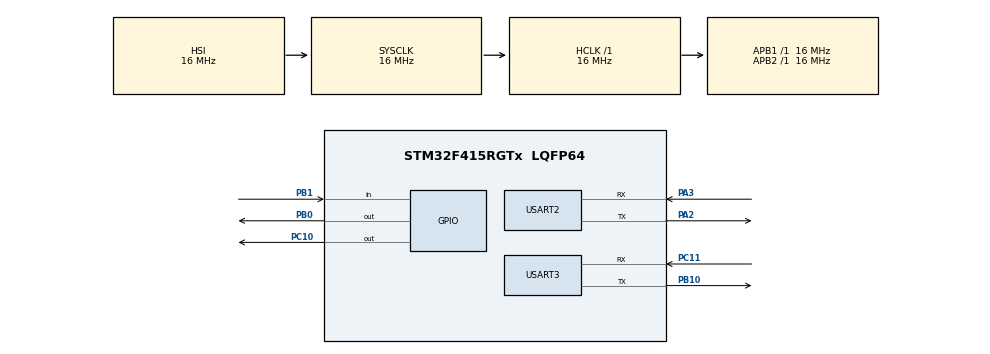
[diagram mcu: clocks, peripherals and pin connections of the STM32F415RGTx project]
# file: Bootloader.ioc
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Mcu.Family=STM32F4
Mcu.Name=STM32F415RGTx
Mcu.Package=LQFP64
NVIC.PriorityGroup=NVIC_PRIORITYGROUP_4
PA2.Mode=Asynchronous
PA2.Signal=USART2_TX
PA3.Mode=Asynchronous
PA3.Signal=USART2_RX
PB0.Signal=GPIO_Output
PB1.Signal=GPIO_Input
PB10.Mode=Asynchronous
PB10.Signal=USART3_TX
PC10.Signal=GPIO_Output
PC11.Mode=Asynchronous
PC11.Signal=USART3_RX
ProjectManager.HeapSize=0x200
ProjectManager.StackSize=0x400
ProjectManager.TargetToolchain=STM32CubeIDE
RCC.AHBFreq_Value=16000000
RCC.APB1Freq_Value=16000000
RCC.APB2Freq_Value=16000000
RCC.CortexFreq_Value=16000000
RCC.HSE_VALUE=25000000
RCC.HSI_VALUE=16000000
RCC.LSE_VALUE=32768
RCC.SYSCLKFreq_VALUE=16000000
RCC.VCOOutputFreq_Value=192000000
USART2.VirtualMode=VM_ASYNC
USART3.VirtualMode=VM_ASYNC
VP_CRC_VS_CRC.Mode=CRC_Activate
board=custom

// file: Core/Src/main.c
/* USER CODE BEGIN Header */
/**
  ******************************************************************************
  * @file           : main.c
  * @brief          : Main program body
  ******************************************************************************
  * @attention
  *
  * Copyright (c) 2022 STMicroelectronics.
  * All rights reserved.
  *
  * This software is licensed under terms that can be found in the LICENSE file
  * in the root directory of this software component.
  * If no LICENSE file comes with this software, it is provided AS-IS.
  *
  ******************************************************************************
  */
/* USER CODE END Header */
#include "main.h"

CRC_HandleTypeDef hcrc;

UART_HandleTypeDef huart2;
UART_HandleTypeDef huart3;

/* USER CODE BEGIN PV */
#define CMD_UART &huart3
#define DBG_UART &huart2

/* USER CODE END PV */

void SystemClock_Config(void);
static void MX_GPIO_Init(void);
static void MX_CRC_Init(void);
static void MX_USART2_UART_Init(void);
static void MX_USART3_UART_Init(void);

/* USER CODE BEGIN 0 */
char pData[] = "Hello from Bootloader\r\n";
uint8_t data_rcv[200];
/* USER CODE END 0 */

int main(void)
{

  /* MCU Configuration--------------------------------------------------------*/

  /* Reset of all peripherals, Initializes the Flash interface and the Systick. */
  HAL_Init();

  /* Configure the system clock */
  SystemClock_Config();

  /* Initialize all configured peripherals */
  MX_GPIO_Init();
  MX_CRC_Init();
  MX_USART2_UART_Init();
  MX_USART3_UART_Init();
  /* USER CODE BEGIN 2 */
  HAL_GPIO_WritePin(GPIOB, GPIO_PIN_0, GPIO_PIN_SET);
  HAL_UART_Transmit(&huart3, (uint8_t*)pData, sizeof(pData), HAL_MAX_DELAY);

  /* USER CODE END 2 */

  /* Infinite loop */
  while (1)
  {

    /* USER CODE BEGIN 3 */
	  /*Default state of Btn = HIGH */
	  if((HAL_GPIO_ReadPin(GPIOB, GPIO_PIN_1))!=GPIO_PIN_SET){
		  goto_bootloader_mode();
	  }
	  else{
		  HAL_GPIO_WritePin(GPIOB, GPIO_PIN_0, GPIO_PIN_RESET);
//		  goto_user_app();
		  goto_user_app();
	  }

  }
  /* USER CODE END 3 */
}

void SystemClock_Config(void)
{
  RCC_OscInitTypeDef RCC_OscInitStruct = {0};
  RCC_ClkInitTypeDef RCC_ClkInitStruct = {0};

  /** Configure the main internal regulator output voltage
  */
  __HAL_RCC_PWR_CLK_ENABLE();
  __HAL_PWR_VOLTAGESCALING_CONFIG(PWR_REGULATOR_VOLTAGE_SCALE1);

  /** Initializes the RCC Oscillators according to the specified parameters
  * in the RCC_OscInitTypeDef structure.
  */
  RCC_OscInitStruct.OscillatorType = RCC_OSCILLATORTYPE_HSI;
  RCC_OscInitStruct.HSIState = RCC_HSI_ON;
  RCC_OscInitStruct.HSICalibrationValue = RCC_HSICALIBRATION_DEFAULT;
  RCC_OscInitStruct.PLL.PLLState = RCC_PLL_NONE;
  if (HAL_RCC_OscConfig(&RCC_OscInitStruct) != HAL_OK)
  {
    Error_Handler();
  }

  /** Initializes the CPU, AHB and APB buses clocks
  */
  RCC_ClkInitStruct.ClockType = RCC_CLOCKTYPE_HCLK|RCC_CLOCKTYPE_SYSCLK
                              |RCC_CLOCKTYPE_PCLK1|RCC_CLOCKTYPE_PCLK2;
  RCC_ClkInitStruct.SYSCLKSource = RCC_SYSCLKSOURCE_HSI;
  RCC_ClkInitStruct.AHBCLKDivider = RCC_SYSCLK_DIV1;
  RCC_ClkInitStruct.APB1CLKDivider = RCC_HCLK_DIV1;
  RCC_ClkInitStruct.APB2CLKDivider = RCC_HCLK_DIV1;

  if (HAL_RCC_ClockConfig(&RCC_ClkInitStruct, FLASH_LATENCY_0) != HAL_OK)
  {
    Error_Handler();
  }
}

static void MX_CRC_Init(void)
{

  hcrc.Instance = CRC;
  if (HAL_CRC_Init(&hcrc) != HAL_OK)
  {
    Error_Handler();
  }

}

static void MX_USART2_UART_Init(void)
{

  huart2.Instance = USART2;
  huart2.Init.BaudRate = 115200;
  huart2.Init.WordLength = UART_WORDLENGTH_8B;
  huart2.Init.StopBits = UART_STOPBITS_1;
  huart2.Init.Parity = UART_PARITY_NONE;
  huart2.Init.Mode = UART_MODE_TX_RX;
  huart2.Init.HwFlowCtl = UART_HWCONTROL_NONE;
  huart2.Init.OverSampling = UART_OVERSAMPLING_16;
  if (HAL_UART_Init(&huart2) != HAL_OK)
  {
    Error_Handler();
  }

}

static void MX_USART3_UART_Init(void)
{

  huart3.Instance = USART3;
  huart3.Init.BaudRate = 115200;
  huart3.Init.WordLength = UART_WORDLENGTH_8B;
  huart3.Init.StopBits = UART_STOPBITS_1;
  huart3.Init.Parity = UART_PARITY_NONE;
  huart3.Init.Mode = UART_MODE_TX_RX;
  huart3.Init.HwFlowCtl = UART_HWCONTROL_NONE;
  huart3.Init.OverSampling = UART_OVERSAMPLING_16;
  if (HAL_UART_Init(&huart3) != HAL_OK)
  {
    Error_Handler();
  }

}

static void MX_GPIO_Init(void)
{
  GPIO_InitTypeDef GPIO_InitStruct = {0};

  /* GPIO Ports Clock Enable */
  __HAL_RCC_GPIOA_CLK_ENABLE();
  __HAL_RCC_GPIOB_CLK_ENABLE();
  __HAL_RCC_GPIOC_CLK_ENABLE();

  /*Configure GPIO pin Output Level */
  HAL_GPIO_WritePin(GPIOB, GPIO_PIN_0, GPIO_PIN_RESET);

  /*Configure GPIO pin Output Level */
  HAL_GPIO_WritePin(GPIOC, GPIO_PIN_10, GPIO_PIN_RESET);

  /*Configure GPIO pin : PB0 */
  GPIO_InitStruct.Pin = GPIO_PIN_0;
  GPIO_InitStruct.Mode = GPIO_MODE_OUTPUT_PP;
  GPIO_InitStruct.Pull = GPIO_NOPULL;
  GPIO_InitStruct.Speed = GPIO_SPEED_FREQ_LOW;
  HAL_GPIO_Init(GPIOB, &GPIO_InitStruct);

  /*Configure GPIO pin : PB1 */
  GPIO_InitStruct.Pin = GPIO_PIN_1;
  GPIO_InitStruct.Mode = GPIO_MODE_INPUT;
  GPIO_InitStruct.Pull = GPIO_NOPULL;
  HAL_GPIO_Init(GPIOB, &GPIO_InitStruct);

  /*Configure GPIO pin : PC10 */
  GPIO_InitStruct.Pin = GPIO_PIN_10;
  GPIO_InitStruct.Mode = GPIO_MODE_OUTPUT_PP;
  GPIO_InitStruct.Pull = GPIO_NOPULL;
  GPIO_InitStruct.Speed = GPIO_SPEED_FREQ_LOW;
  HAL_GPIO_Init(GPIOC, &GPIO_InitStruct);

}

/* USER CODE BEGIN 4 */
void goto_bootloader_mode(){
	debug_msg("Jump to Bootloader Mode\r\n");
	HAL_GPIO_WritePin(GPIOB, GPIO_PIN_0, GPIO_PIN_SET);

	memset(data_rcv, 0,200);
	HAL_UART_Receive(CMD_UART, data_rcv, 1, HAL_MAX_DELAY); /*1. Read 1st byte of the CMD = Length to follow */
	HAL_UART_Receive(CMD_UART, &data_rcv[1], data_rcv[0], HAL_MAX_DELAY);/*1. Read 2nd byte of the CMD = Command Code */
	debug_msg("Command : %d\r\n", data_rcv[1]);
	switch(data_rcv[1]){
	case CMD_GET_VERSION:
		bootloader_version_handler();
		break;

	// 1. Read data from user through UART
	default:
		debug_msg("Invalid Command Received!\r\n");
		break;
	}
}
void goto_user_app(){
	// 1. Read data from user through UART
	debug_msg("Jump to User Application\r\n");
//	HAL_Delay(2000);

	void (*reset_handler_app)();

	uint32_t reset_handler_addr = *((volatile uint32_t*)(0x08010000+4));

	reset_handler_app = (void*)reset_handler_addr;
	reset_handler_app();

//	HAL_GPIO_WritePin(GPIOC, GPIO_PIN_10, GPIO_PIN_SET);
}

void debug_msg(char *format, ...){
    char str[100];

    /*Etract the argument list using VA apis*/
    va_list args;
    va_start(args, format);
    vsprintf(str, format, args);
    HAL_UART_Transmit(DBG_UART, (uint8_t *)str, strlen(str), HAL_MAX_DELAY);
    va_end(args);
}

void bootloader_version_handler(){
	debug_msg("\n >> bootloader_version_handler << \r\n"
			"----------------------------------------\n");
	uint32_t command_packet_len = data_rcv[0]+1;
	uint32_t host_crc = *((uint32_t*)(data_rcv+command_packet_len-4));
	//1. Verify the Checksum
	if(! bootloader_verify_crc(&data_rcv[0],command_packet_len-4,host_crc)){
		debug_msg("Checksum Success!\r\n");
		//2. Send ACK + len
		bootloader_send_ack(1);
		uint8_t bl_version = (uint8_t)BL_VERSION;
		debug_msg("Bootloader version : %d\r\n\n", BL_VERSION);
		HAL_UART_Transmit(CMD_UART,&bl_version, 1, HAL_MAX_DELAY);
	}
	else{
		debug_msg("Checksum Fail\r\n");
		bootloader_send_nack();
	}

}

void bootloader_send_ack(uint8_t follow_len){
	uint8_t ack[2]={0};
	ack[0]=0x55;
	ack[1]=follow_len;
	HAL_UART_Transmit(CMD_UART, ack,(uint8_t)sizeof(ack)/sizeof(uint8_t) , HAL_MAX_DELAY);
}

void bootloader_send_nack(){
	uint8_t nack = 0x99;
	HAL_UART_Transmit(CMD_UART, &nack, 1, HAL_MAX_DELAY);
}

uint8_t bootloader_verify_crc(uint8_t *pData, uint32_t len, uint32_t crc_host){
	uint32_t uwCRCValue=0xff;

	for(uint32_t i=0;i<len;i++){
		uint32_t i_data = pData[i];
		uwCRCValue = HAL_CRC_Accumulate(&hcrc, &i_data, 1);
	}
	if(uwCRCValue == crc_host){
		return VERIFY_CRC_SUCCESS;
	}
	return VERIFY_CRC_FAIL;
}

/* USER CODE END 4 */

void Error_Handler(void)
{
  __disable_irq();
  while (1)
  {
  }
}
